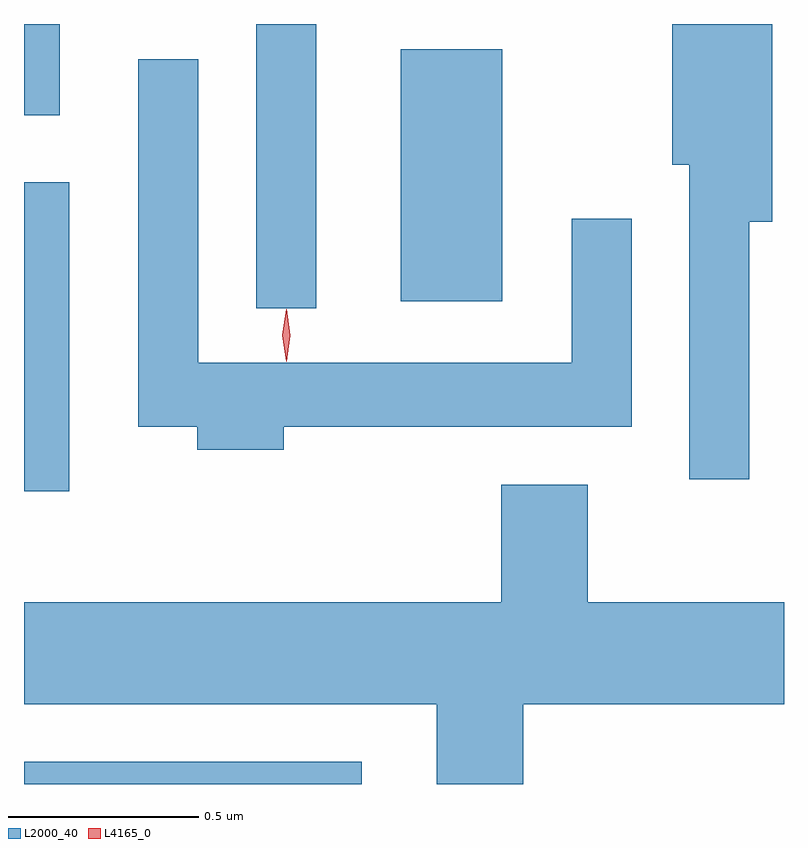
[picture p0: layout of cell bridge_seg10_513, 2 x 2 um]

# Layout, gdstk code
import gdstk
lib = gdstk.Library(unit=1e-6, precision=1e-09)
def R(c, l, rs):  # rectangles x0, y0, x1, y1
    for r in rs: c.add(gdstk.rectangle(r[:2], r[2:], *l))
def P(c, l, *ps):  # polygons
    for p in ps: c.add(gdstk.Polygon(p, *l))
L2000_40 = (2000, 40)
L4165_0 = (4165, 0)

bridge_seg10_513 = lib.new_cell('bridge_seg10_513')
R(bridge_seg10_513, L2000_40, [(896.545,2164.766,897.434,2164.824), (896.545,2165.536,896.664,2166.349), (897.156,2166.018,897.314,2166.766), (897.536,2166.036,897.804,2166.699), (896.545,2166.526,896.639,2166.766)])
P(bridge_seg10_513, L2000_40, [(898.454,2166.246),(898.514,2166.246),(898.514,2166.766),(898.251,2166.766),(898.251,2166.396),(898.296,2166.396),(898.296,2165.568),(898.454,2165.568)],
  [(897.229,2165.706),(898.144,2165.706),(898.144,2166.253),(897.986,2166.253),(897.986,2165.874),(897.004,2165.874),(897.004,2166.673),(896.846,2166.673),(896.846,2165.706),(897.001,2165.706),(897.001,2165.646),(897.229,2165.646)],
  [(897.801,2165.554),(897.801,2165.244),(896.545,2165.244),(896.545,2164.976),(897.631,2164.976),(897.631,2164.766),(897.859,2164.766),(897.859,2164.976),(898.545,2164.976),(898.545,2165.244),(898.029,2165.244),(898.029,2165.554)])
P(bridge_seg10_513, L4165_0, [(897.235,2165.877),(897.235,2165.878),(897.225,2165.947),(897.235,2166.016),(897.235,2166.016),(897.236,2166.016),(897.245,2165.947),(897.236,2165.878)],
  [(897.236,2165.879),(897.236,2165.88),(897.226,2165.946),(897.236,2166.012),(897.236,2166.013),(897.237,2166.012),(897.246,2165.946),(897.237,2165.88)])

lib.write_gds('bridge_seg10_513.gds')
